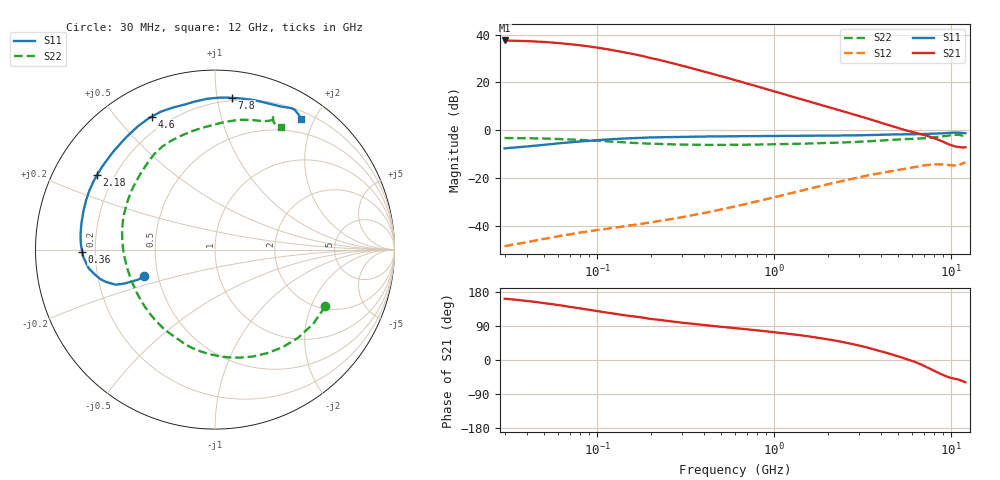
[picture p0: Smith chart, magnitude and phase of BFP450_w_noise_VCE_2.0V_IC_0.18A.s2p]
! (c) 2015  Infineon Technologies AG, Munich
! Infineon Technologies  Discrete & RF Semiconductors
! BFP450
! VCE =  2.0 V,  IC = 0.18 A
! Common Emitter S-Parameters:  Nov 2015
# GHz  S  MA  R  50
!  f  S11  S21  S12  S22
! GHz  MAG  ANG  MAG  ANG  MAG  ANG  MAG  ANG
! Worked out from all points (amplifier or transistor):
!   239 points, 30 MHz to 12 GHz, reference 50 ohm
!   highest |S21| = 37.5 dB at 30 MHz (marker M1)
!   |S21| within 3 dB of that: start of sweep to 100.2 MHz
!   unconditionally stable (mu >= 1): 612.7 MHz to end of sweep
!   at 300 MHz: K = 0.85, MSG = 31.7 dB, |S12| = -36.3 dB
!   at 1.88 GHz: K = 1.12, MAG = 14.6 dB, |S12| = -23.0 dB
!   at 12 GHz: K = 1.09, MAG = 1.3 dB, |S12| = -13.4 dB
!   lowest NFmin = 2.85 dB at 450 MHz
!   S11 on the Smith chart (normalised r, x): 30 MHz: 0.42, -0.15; 360 MHz: 0.15, -0.01; 2.18 GHz: 0.14, +0.28; 4.6 GHz: 0.14, +0.62; 7.8 GHz: 0.18, +1.10; 12 GHz: 0.30, +1.82
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0.03  0.4197 -159.7  75.42 161.9  0.0038 83.2  0.6911 -27.3
0.04  0.4597 -158.6  73.14 155.9  0.0046 76.7  0.6859 -37.2
0.05  0.4978 -159.1  70.2 150.1  0.0054 74.1  0.6753 -46.6
0.06  0.5338 -159.4  66.72 145.2  0.0061 69.0  0.6618 -55.2
0.07  0.5608 -159.9  63.22 140.2  0.0067 66.6  0.6461 -63.2
0.085  0.5953 -161.1  58.2 134.4  0.0075 64.1  0.6237 -73.8
0.11  0.6385 -163.9  50.65 126.1  0.0086 60.8  0.5923 -88.7
0.13  0.6623 -165.9  45.4 120.9  0.0095 60.0  0.5718 -98.5
0.15  0.6796 -167.8  40.94 116.5  0.0102 59.3  0.5554 -106.6
0.2  0.7104 -171.5  32.36 108.4  0.0119 59.6  0.5277 -122.1
0.24  0.72 -173.7  27.76 104.1  0.0133 60.3  0.5139 -130.8
0.3  0.7339 -176.6  22.43 98.5  0.0153 61.6  0.5039 -141.0
0.36  0.7399 -178.8  18.85 94.6  0.0173 62.7  0.4987 -148.2
0.45  0.7461 178.4  15.04 89.7  0.0204 64.0  0.4963 -156.2
0.6  0.7527 174.6  11.18 83.9  0.0257 65.1  0.4983 -165.4
1  0.76 166.7  6.489 73.4  0.04 64.3  0.5115 -179.9
1.64  0.7715 156.2  3.83 61.1  0.0624 58.6  0.5328 165.5
2.18  0.7775 147.7  2.821 51.6  0.0802 52.3  0.5493 155.3
4.5  0.8202 116.5  1.256 16.1  0.1384 25.1  0.6305 122.5
4.6  0.8208 115.5  1.227 14.9  0.1403 24.0  0.6329 121.4
7.8  0.8504 83.7  0.708 -26.0  0.1934 -10.8  0.7038 88.1
12  0.8712 56.6  0.442 -58.7  0.2148 -40.5  0.7768 61.9
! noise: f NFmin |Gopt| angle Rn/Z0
0.45  2.85  0.72  -171  0.08
0.9  2.9  0.74  -165  0.1
1.9  3.01  0.75  -148  0.27
2.4  3.09  0.74  -138  0.42
